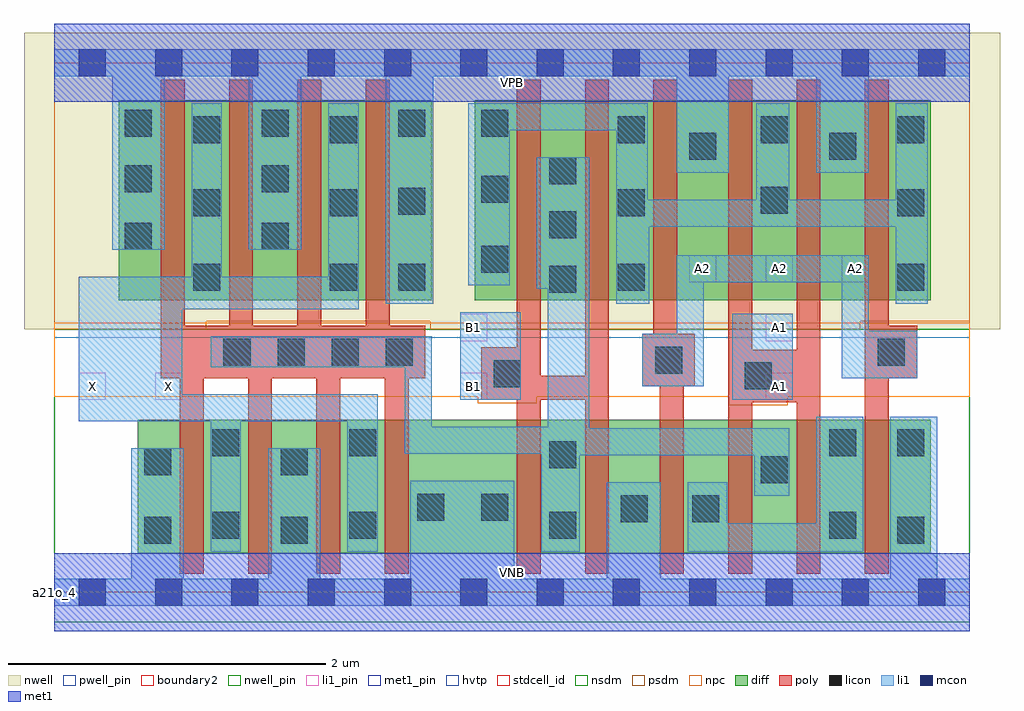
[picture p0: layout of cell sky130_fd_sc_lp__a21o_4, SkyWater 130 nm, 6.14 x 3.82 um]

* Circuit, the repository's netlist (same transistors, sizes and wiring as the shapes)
* Copyright 2020 The SkyWater PDK Authors
*
* Licensed under the Apache License, Version 2.0 (the "License");
* you may not use this file except in compliance with the License.
* You may obtain a copy of the License at
*
*     https://www.apache.org/licenses/LICENSE-2.0
*
* Unless required by applicable law or agreed to in writing, software
* distributed under the License is distributed on an "AS IS" BASIS,
* WITHOUT WARRANTIES OR CONDITIONS OF ANY KIND, either express or implied.
* See the License for the specific language governing permissions and
* limitations under the License.
*
* SPDX-License-Identifier: Apache-2.0

.SUBCKT sky130_fd_sc_lp__a21o_4 A1 A2 B1 VGND VNB VPB VPWR X
*.PININFO A1:I A2:I B1:I VGND:I VNB:I VPB:I VPWR:I X:O
MMPA0 pndA A1 VPWR VPB sky130_fd_pr__pfet_01v8_hvt m=2 w=1.26U l=0.15U mult=1 sa=0.265
+ sb=0.265 sd=0.28 area=0.063 perim=1.14
MMPA1 pndA A2 VPWR VPB sky130_fd_pr__pfet_01v8_hvt m=2 w=1.26U l=0.15U mult=1 sa=0.265
+ sb=0.265 sd=0.28 area=0.063 perim=1.14
MMPB0 y B1 pndA VPB sky130_fd_pr__pfet_01v8_hvt m=2 w=1.26U l=0.15U mult=1 sa=0.265
+ sb=0.265 sd=0.28 area=0.063 perim=1.14
MMIPX X y VPWR VPB sky130_fd_pr__pfet_01v8_hvt m=4 w=1.26U l=0.15U mult=1 sa=0.265
+ sb=0.265 sd=0.28 area=0.063 perim=1.14
MMNA0 y A1 sndA1 VNB sky130_fd_pr__nfet_01v8 m=2 w=0.84U l=0.15U mult=1 sa=0.265
+ sb=0.265 sd=0.28 area=0.063 perim=1.14
MMNA1 sndA1 A2 VGND VNB sky130_fd_pr__nfet_01v8 m=2 w=0.84U l=0.15U mult=1 sa=0.265
+ sb=0.265 sd=0.28 area=0.063 perim=1.14
MMNB0 y B1 VGND VNB sky130_fd_pr__nfet_01v8 m=2 w=0.84U l=0.15U mult=1 sa=0.265
+ sb=0.265 sd=0.28 area=0.063 perim=1.14
MMINX X y VGND VNB sky130_fd_pr__nfet_01v8 m=4 w=0.84U l=0.15U mult=1 sa=0.265
+ sb=0.265 sd=0.28 area=0.063 perim=1.14
.ENDS sky130_fd_sc_lp__a21o_4

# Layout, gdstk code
import gdstk
lib = gdstk.Library(unit=1e-6, precision=1e-09)
def R(c, l, rs):  # rectangles x0, y0, x1, y1
    for r in rs: c.add(gdstk.rectangle(r[:2], r[2:], *l))
def A(c, l, x, y, w, h, nx, ny, dx, dy):  # array of equal rectangles
    R(c, l, [(x+i*dx, y+j*dy, x+i*dx+w, y+j*dy+h) for i in range(nx) for j in range(ny)])
def P(c, l, *ps):  # polygons
    for p in ps: c.add(gdstk.Polygon(p, *l))
nwell_pin = (64, 16)
nwell = (64, 20)
diff = (65, 20)
poly = (66, 20)
licon = (66, 44)
li1_pin = (67, 16)
li1 = (67, 20)
mcon = (67, 44)
met1_pin = (68, 16)
met1 = (68, 20)
hvtp = (78, 44)
stdcell_id = (81, 4)
nsdm = (93, 44)
psdm = (94, 20)
npc = (95, 20)
pwell_pin = (122, 16)
boundary2 = (236, 0)

sky130_fd_sc_lp__a21o_4 = lib.new_cell('sky130_fd_sc_lp__a21o_4')
R(sky130_fd_sc_lp__a21o_4, nwell_pin, [(0,3.085,5.76,3.33)])
R(sky130_fd_sc_lp__a21o_4, nwell, [(-0.19,1.655,5.95,3.52)])
R(sky130_fd_sc_lp__a21o_4, diff, [(0.525,0.245,5.515,1.085), (0.405,1.835,2.375,3.095), (2.645,1.835,5.515,3.095)])
P(sky130_fd_sc_lp__a21o_4, poly, [(2.335,1.675),(2.11,1.675),(2.11,3.225),(1.96,3.225),(1.96,1.675),(1.68,1.675),(1.68,3.225),(1.53,3.225),(1.53,1.675),(1.25,1.675),(1.25,3.225),(1.1,3.225),(1.1,1.675),(0.82,1.675),(0.82,3.225),(0.67,3.225),(0.67,1.345),(0.79,1.345),(0.79,0.115),(0.94,0.115),(0.94,1.345),(1.22,1.345),(1.22,0.115),(1.37,0.115),(1.37,1.345),(1.65,1.345),(1.65,0.115),(1.8,0.115),(1.8,1.345),(2.08,1.345),(2.08,0.115),(2.23,0.115),(2.23,1.345),(2.335,1.345)],
  [(3.49,3.225),(3.34,3.225),(3.34,1.36),(3.06,1.36),(3.06,3.225),(2.91,3.225),(2.91,1.54),(2.685,1.54),(2.685,1.21),(2.91,1.21),(2.91,0.115),(3.06,0.115),(3.06,1.21),(3.34,1.21),(3.34,0.115),(3.49,0.115)],
  [(4.03,1.625),(3.92,1.625),(3.92,3.225),(3.77,3.225),(3.77,1.625),(3.7,1.625),(3.7,1.295),(3.81,1.295),(3.81,0.115),(3.96,0.115),(3.96,1.295),(4.03,1.295)],
  [(4.82,3.225),(4.67,3.225),(4.67,1.525),(4.39,1.525),(4.39,3.225),(4.24,3.225),(4.24,0.115),(4.39,0.115),(4.39,1.195),(4.67,1.195),(4.67,0.115),(4.82,0.115)],
  [(5.43,1.675),(5.25,1.675),(5.25,3.225),(5.1,3.225),(5.1,0.115),(5.25,0.115),(5.25,1.345),(5.43,1.345)])
A(sky130_fd_sc_lp__a21o_4, licon, 1.065, 1.425, 0.17, 0.17, 4, 1, 0.34, 0)
A(sky130_fd_sc_lp__a21o_4, licon, 3.115, 1.885, 0.17, 0.17, 1, 3, 0, 0.34)
A(sky130_fd_sc_lp__a21o_4, licon, 0.445, 2.865, 0.17, 0.17, 3, 1, 0.86, 0)
R(sky130_fd_sc_lp__a21o_4, licon, [(0.565,0.305,0.735,0.475), (1.425,0.305,1.595,0.475), (5.305,0.305,5.475,0.475), (0.995,0.335,1.165,0.505), (1.855,0.335,2.025,0.505), (3.115,0.335,3.285,0.505), (4.875,0.335,5.045,0.505), (3.565,0.44,3.735,0.61), (4.015,0.44,4.185,0.61), (2.285,0.45,2.455,0.62), (2.685,0.45,2.855,0.62), (4.445,0.685,4.615,0.855), (0.565,0.735,0.735,0.905), (1.425,0.735,1.595,0.905), (3.115,0.78,3.285,0.95), (0.995,0.855,1.165,1.025), (1.855,0.855,2.025,1.025), (4.875,0.855,5.045,1.025), (5.305,0.855,5.475,1.025), (4.345,1.275,4.515,1.445), (2.765,1.29,2.935,1.46), (3.78,1.375,3.95,1.545), (5.18,1.425,5.35,1.595), (0.875,1.895,1.045,2.065), (1.735,1.895,1.905,2.065), (2.165,1.895,2.335,2.065), (3.545,1.895,3.715,2.065), (5.305,1.895,5.475,2.065), (2.685,2.01,2.855,2.18), (0.445,2.155,0.615,2.325), (1.305,2.155,1.475,2.325), (0.875,2.365,1.045,2.535), (1.735,2.365,1.905,2.535), (3.545,2.365,3.715,2.535), (5.305,2.365,5.475,2.535), (2.165,2.375,2.335,2.545), (4.445,2.38,4.615,2.55), (2.685,2.45,2.855,2.62), (0.445,2.515,0.615,2.685), (1.305,2.515,1.475,2.685), (3.995,2.72,4.165,2.89), (4.875,2.72,5.045,2.89), (0.875,2.825,1.045,2.995), (1.735,2.825,1.905,2.995), (3.545,2.825,3.715,2.995), (4.445,2.825,4.615,2.995), (5.305,2.825,5.475,2.995), (2.685,2.865,2.855,3.035)])
A(sky130_fd_sc_lp__a21o_4, li1_pin, 0.635, 1.21, 0.17, 0.17, 3, 1, 1.92, 0)
A(sky130_fd_sc_lp__a21o_4, li1_pin, 3.995, 1.95, 0.17, 0.17, 3, 1, 0.48, 0)
R(sky130_fd_sc_lp__a21o_4, li1_pin, [(0.155,1.21,0.325,1.38), (2.555,1.58,2.725,1.75), (4.475,1.58,4.645,1.75)])
R(sky130_fd_sc_lp__a21o_4, li1, [(2.555,1.21,2.935,1.76), (4.265,1.21,4.645,1.75)])
P(sky130_fd_sc_lp__a21o_4, li1, [(2.085,1.815),(2.085,3.245),(1.555,3.245),(1.555,2.155),(1.225,2.155),(1.225,3.245),(0.695,3.245),(0.695,2.155),(0.365,2.155),(0.365,3.245),(0,3.245),(0,3.415),(5.76,3.415),(5.76,3.245),(5.125,3.245),(5.125,2.64),(4.795,2.64),(4.795,3.245),(4.245,3.245),(4.245,2.64),(3.915,2.64),(3.915,3.245),(2.385,3.245),(2.385,1.815)],
  [(3.475,0.085),(3.475,0.69),(3.815,0.69),(3.815,0.085),(5.26,0.085),(5.26,1.105),(5.555,1.105),(5.555,0.085),(5.76,0.085),(5.76,-0.085),(0,-0.085),(0,0.085),(0.485,0.085),(0.485,0.905),(0.815,0.905),(0.815,0.085),(1.345,0.085),(1.345,0.905),(1.675,0.905),(1.675,0.085),(2.24,0.085),(2.24,0.7),(2.895,0.7),(2.895,0.085)],
  [(4.625,1.03),(3.365,1.03),(3.365,2.735),(3.035,2.735),(3.035,1.91),(3.105,1.91),(3.105,1.04),(2.375,1.04),(2.375,1.61),(0.985,1.61),(0.985,1.415),(2.205,1.415),(2.205,0.87),(3.065,0.87),(3.065,0.255),(3.305,0.255),(3.305,0.86),(4.405,0.86),(4.405,0.605),(4.625,0.605)],
  [(3.915,2.12),(5.125,2.12),(5.125,1.645),(5.43,1.645),(5.43,1.345),(4.955,1.345),(4.955,1.95),(4.085,1.95),(4.085,1.295),(3.7,1.295),(3.7,1.625),(3.915,1.625)],
  [(5.495,3.075),(5.295,3.075),(5.295,2.47),(4.625,2.47),(4.625,3.075),(4.415,3.075),(4.415,2.47),(3.735,2.47),(3.735,3.075),(2.605,3.075),(2.605,1.93),(2.865,1.93),(2.865,2.905),(3.535,2.905),(3.535,1.815),(3.745,1.815),(3.745,2.3),(5.295,2.3),(5.295,1.815),(5.495,1.815)],
  [(1.055,1.985),(1.725,1.985),(1.725,3.075),(1.915,3.075),(1.915,1.78),(0.805,1.78),(0.805,1.245),(2.035,1.245),(2.035,0.255),(1.845,0.255),(1.845,1.075),(1.175,1.075),(1.175,0.255),(0.985,0.255),(0.985,1.075),(0.155,1.075),(0.155,1.985),(0.865,1.985),(0.865,3.075),(1.055,3.075)],
  [(4.235,0.435),(4.795,0.435),(4.795,1.105),(5.09,1.105),(5.09,0.255),(3.985,0.255),(3.985,0.69),(4.235,0.69)])
A(sky130_fd_sc_lp__a21o_4, mcon, 0.155, -0.085, 0.17, 0.17, 12, 2, 0.48, 3.33)
R(sky130_fd_sc_lp__a21o_4, met1_pin, [(0,0,5.76,0.245), (0,3.085,5.76,3.33)])
R(sky130_fd_sc_lp__a21o_4, met1, [(0,-0.245,5.76,0.245), (0,3.085,5.76,3.575)])
R(sky130_fd_sc_lp__a21o_4, hvtp, [(0,1.6,5.76,3.33)])
R(sky130_fd_sc_lp__a21o_4, stdcell_id, [(0,0,5.76,3.33)])
R(sky130_fd_sc_lp__a21o_4, nsdm, [(0,-0.19,5.76,1.655)])
P(sky130_fd_sc_lp__a21o_4, psdm, [(5.76,3.52),(0,3.52),(0,1.655),(0.955,1.655),(0.955,1.705),(2.365,1.705),(2.365,1.655),(5.07,1.655),(5.07,1.705),(5.76,1.705)])
P(sky130_fd_sc_lp__a21o_4, npc, [(5.76,1.695),(0,1.695),(0,1.23),(2.665,1.23),(2.665,1.19),(3.035,1.19),(3.035,1.23),(4.245,1.23),(4.245,1.175),(4.615,1.175),(4.615,1.23),(5.76,1.23)])
R(sky130_fd_sc_lp__a21o_4, pwell_pin, [(0,0,5.76,0.245)])
R(sky130_fd_sc_lp__a21o_4, boundary2, [(0,0,5.76,3.33)])
sky130_fd_sc_lp__a21o_4.add(gdstk.Label('VNB', (2.88,0.123), layer=64, texttype=59))
sky130_fd_sc_lp__a21o_4.add(gdstk.Label('VPB', (2.88,3.208), layer=64, texttype=5))
sky130_fd_sc_lp__a21o_4.add(gdstk.Label('a21o_4', (0,0), layer=83, texttype=44))
sky130_fd_sc_lp__a21o_4.add(gdstk.Label('VPWR', (2.88,3.208), layer=68, texttype=5))
sky130_fd_sc_lp__a21o_4.add(gdstk.Label('VGND', (2.88,0.123), layer=68, texttype=5))
sky130_fd_sc_lp__a21o_4.add(gdstk.Label('A1', (4.56,1.295), layer=67, texttype=5))
sky130_fd_sc_lp__a21o_4.add(gdstk.Label('A1', (4.56,1.665), layer=67, texttype=5))
sky130_fd_sc_lp__a21o_4.add(gdstk.Label('A2', (4.08,2.035), layer=67, texttype=5))
sky130_fd_sc_lp__a21o_4.add(gdstk.Label('A2', (4.56,2.035), layer=67, texttype=5))
sky130_fd_sc_lp__a21o_4.add(gdstk.Label('A2', (5.04,2.035), layer=67, texttype=5))
sky130_fd_sc_lp__a21o_4.add(gdstk.Label('B1', (2.64,1.295), layer=67, texttype=5))
sky130_fd_sc_lp__a21o_4.add(gdstk.Label('B1', (2.64,1.665), layer=67, texttype=5))
sky130_fd_sc_lp__a21o_4.add(gdstk.Label('X', (0.24,1.295), layer=67, texttype=5))
sky130_fd_sc_lp__a21o_4.add(gdstk.Label('X', (0.72,1.295), layer=67, texttype=5))

lib.write_gds('sky130_fd_sc_lp__a21o_4.gds')
